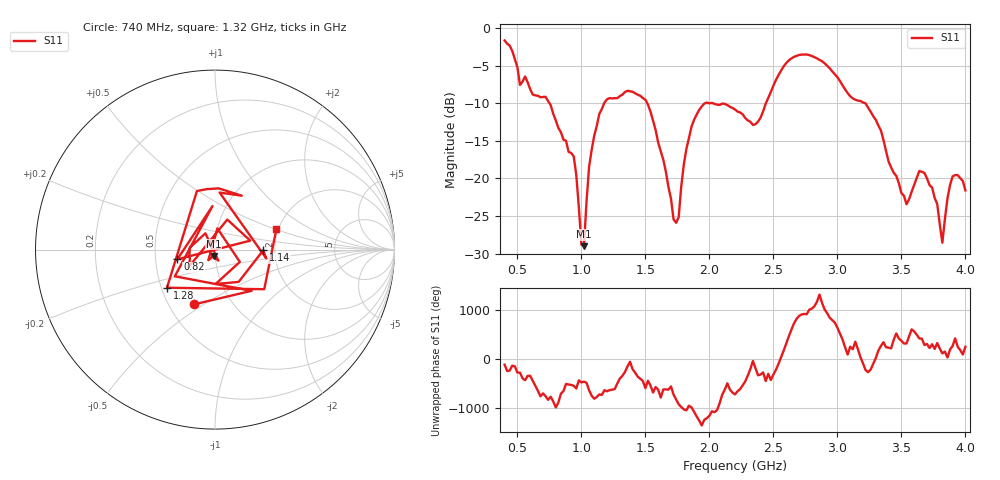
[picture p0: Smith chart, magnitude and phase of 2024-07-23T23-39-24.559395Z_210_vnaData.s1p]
!Created with skrf (http://scikit-rf.org).
# Hz S RI R 50.0
!freq ReS11 ImS11
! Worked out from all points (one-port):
!   181 points, 400 MHz to 4 GHz, reference 50 ohm
!   lowest |S11| = -29.0 dB at 1.02 GHz (marker M1), VSWR 1.07, Z = 49.2 - j3.43 ohm
!   |S11| at or under -10 dB: 750.3 MHz to 1.178 GHz (428 MHz wide, 44.4 % of centre); 1.514 GHz to 1.968 GHz (454.3 MHz wide, 26.1 % of centre); 3.216 GHz to end of sweep (the widest 3 of 5)
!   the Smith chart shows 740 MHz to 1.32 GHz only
!   S11 on the Smith chart (normalised r, x): 740 MHz: 0.67, -0.46; 820 MHz: 0.65, -0.07; 1.14 GHz: 1.73, -0.02; 1.28 GHz: 0.53, -0.26; 1.32 GHz: 1.95, +0.51
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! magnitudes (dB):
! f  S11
! 400 MHz  -1.7
! 520 MHz  -7.6
! 740 MHz  -9.7
! 820 MHz  -13.3
! 860 MHz  -14.9
! 940 MHz  -17.1
! 1 GHz  -28.8
! 1.02 GHz  -29.0
! 1.06 GHz  -18.5
! 1.14 GHz  -11.4
! 1.28 GHz  -9.3
! 1.3 GHz  -9.1
! 1.32 GHz  -8.9
! 1.52 GHz  -10.2
! 1.72 GHz  -25.4
! 1.76 GHz  -25.2
! 1.82 GHz  -16.1
! 1.9 GHz  -11.5
! 2.2 GHz  -10.8
! 2.36 GHz  -12.8
! 2.66 GHz  -3.8
! 3.1 GHz  -9.1
! 3.3 GHz  -12.2
! 3.56 GHz  -22.8
! 3.68 GHz  -19.3
! 3.82 GHz  -28.6
! 3.9 GHz  -19.7
! 4 GHz  -21.6
